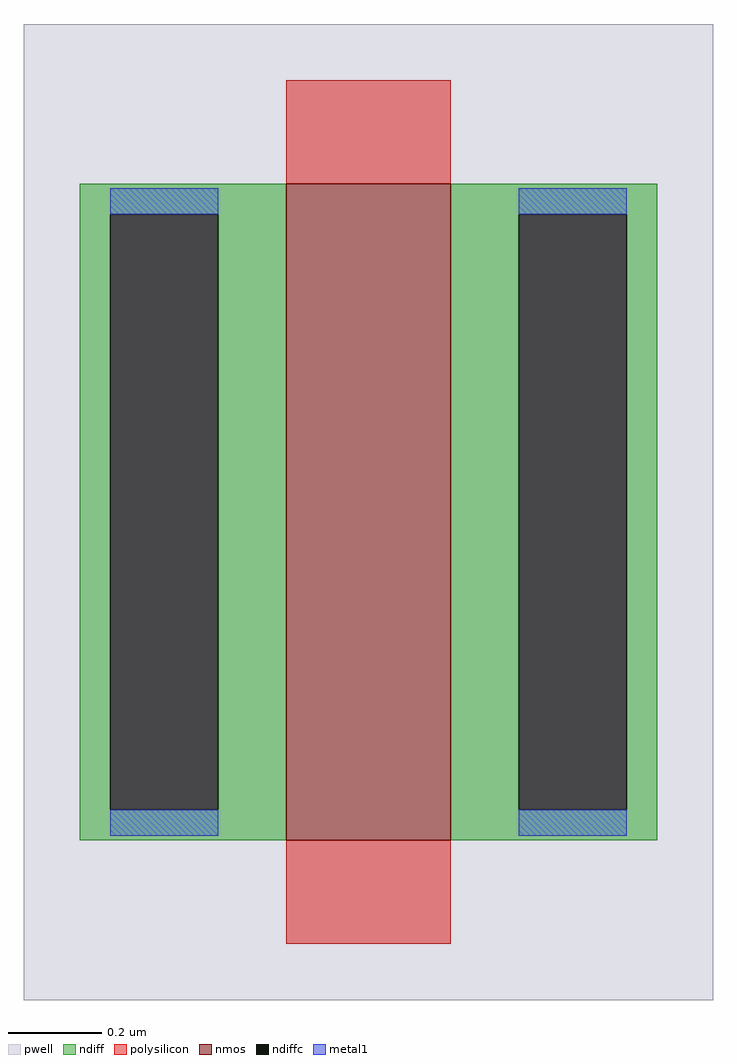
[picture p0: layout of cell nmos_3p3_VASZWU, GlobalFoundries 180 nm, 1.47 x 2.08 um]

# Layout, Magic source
magic
tech gf180mcuC
magscale 1 10
<< pwell >>
rect -147 -208 147 208
<< nmos >>
rect -35 -140 35 140
<< ndiff >>
rect -123 127 -35 140
rect -123 -127 -110 127
rect -64 -127 -35 127
rect -123 -140 -35 -127
rect 35 127 123 140
rect 35 -127 64 127
rect 110 -127 123 127
rect 35 -140 123 -127
<< ndiffc >>
rect -110 -127 -64 127
rect 64 -127 110 127
<< polysilicon >>
rect -35 140 35 184
rect -35 -184 35 -140
<< metal1 >>
rect -110 127 -64 138
rect -110 -138 -64 -127
rect 64 127 110 138
rect 64 -138 110 -127
<< properties >>
string gencell nmos_3p3
string library gf180mcu
string parameters w 1.4 l 0.35 m 1 nf 1 diffcov 100 polycov 100 guard 0 glc 0 grc 0 gtc 0 gbc 0 tbcov 100 rlcov 100 topc 0 botc 0 poverlap 0 doverlap 1 lmin 0.28 wmin 0.22 full_metal 0 compatible {nmos_3p3 nmos_6p0 nmos_6p0_nat}
<< end >>
